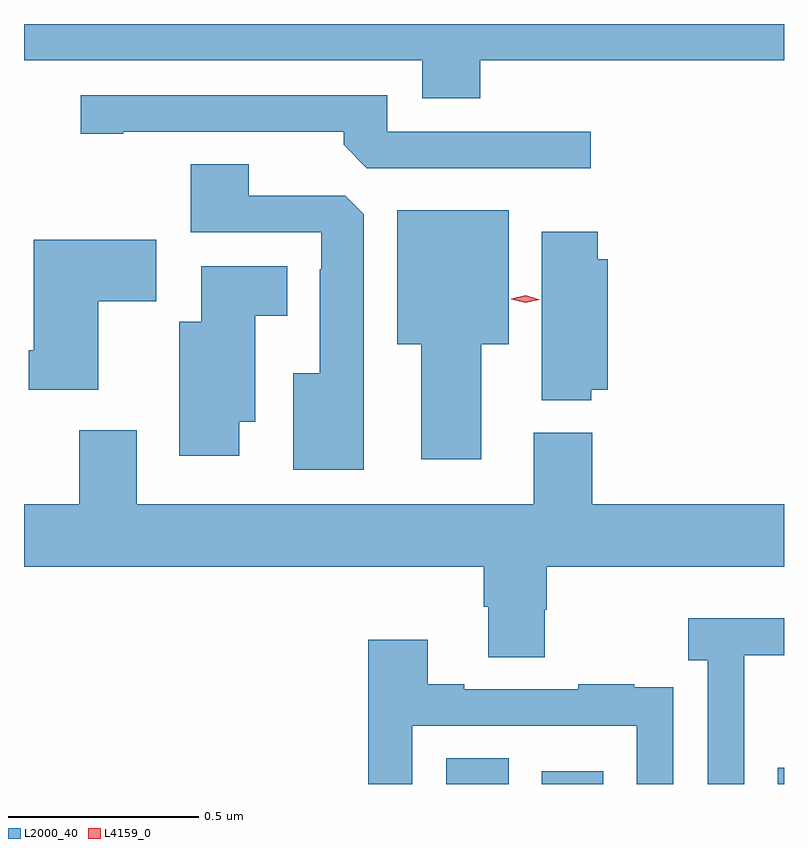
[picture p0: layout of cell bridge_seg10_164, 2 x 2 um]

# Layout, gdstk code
import gdstk
lib = gdstk.Library(unit=1e-6, precision=1e-09)
def R(c, l, rs):  # rectangles x0, y0, x1, y1
    for r in rs: c.add(gdstk.rectangle(r[:2], r[2:], *l))
def P(c, l, *ps):  # polygons
    for p in ps: c.add(gdstk.Polygon(p, *l))
L2000_40 = (2000, 40)
L4159_0 = (4159, 0)

bridge_seg10_164 = lib.new_cell('bridge_seg10_164')
R(bridge_seg10_164, L2000_40, [(245.462,1259.784,245.626,1259.852), (245.714,1259.784,245.875,1259.818), (246.335,1259.784,246.351,1259.827)])
P(bridge_seg10_164, L2000_40, [(245.552,1261.688),(246.351,1261.688),(246.351,1261.784),(244.351,1261.784),(244.351,1261.688),(245.399,1261.688),(245.399,1261.589),(245.552,1261.589)],
  [(245.842,1261.5),(245.307,1261.5),(245.307,1261.596),(244.5,1261.596),(244.5,1261.495),(244.612,1261.495),(244.612,1261.5),(245.192,1261.5),(245.192,1261.466),(245.253,1261.404),(245.842,1261.404)],
  [(245.245,1261.283),(245.196,1261.332),(244.942,1261.332),(244.942,1261.415),(244.79,1261.415),(244.79,1261.236),(245.133,1261.236),(245.133,1261.139),(245.129,1261.139),(245.129,1260.865),(245.06,1260.865),(245.06,1260.611),(245.245,1260.611)],
  [(245.554,1260.941),(245.626,1260.941),(245.626,1261.294),(245.333,1261.294),(245.333,1260.941),(245.396,1260.941),(245.396,1260.639),(245.554,1260.639)],
  [(245.844,1260.821),(245.887,1260.821),(245.887,1261.165),(245.861,1261.165),(245.861,1261.237),(245.714,1261.237),(245.714,1260.794),(245.844,1260.794)],
  [(244.546,1261.054),(244.699,1261.054),(244.699,1261.216),(244.376,1261.216),(244.376,1260.925),(244.364,1260.925),(244.364,1260.821),(244.546,1260.821)],
  [(244.918,1260.737),(244.96,1260.737),(244.96,1261.016),(245.044,1261.016),(245.044,1261.147),(244.817,1261.147),(244.817,1261),(244.76,1261),(244.76,1260.648),(244.918,1260.648)],
  [(245.721,1260.243),(245.726,1260.243),(245.726,1260.356),(246.351,1260.356),(246.351,1260.52),(245.846,1260.52),(245.846,1260.709),(245.693,1260.709),(245.693,1260.52),(244.648,1260.52),(244.648,1260.715),(244.496,1260.715),(244.496,1260.52),(244.351,1260.52),(244.351,1260.356),(245.561,1260.356),(245.561,1260.25),(245.573,1260.25),(245.573,1260.118),(245.721,1260.118)],
  [(246.246,1259.923),(246.247,1259.923),(246.247,1260.123),(246.351,1260.123),(246.351,1260.22),(246.099,1260.22),(246.099,1260.11),(246.15,1260.11),(246.15,1259.784),(246.246,1259.784)],
  [(245.373,1259.937),(245.964,1259.937),(245.964,1259.784),(246.06,1259.784),(246.06,1259.93),(246.059,1259.93),(246.059,1260.039),(245.957,1260.039),(245.957,1260.046),(245.809,1260.046),(245.809,1260.033),(245.509,1260.033),(245.509,1260.046),(245.413,1260.046),(245.413,1260.163),(245.257,1260.163),(245.257,1259.784),(245.373,1259.784)])
P(bridge_seg10_164, L4159_0, [(245.67,1261.05),(245.633,1261.06),(245.633,1261.06),(245.633,1261.061),(245.671,1261.07),(245.708,1261.059),(245.708,1261.059),(245.708,1261.058)])

lib.write_gds('bridge_seg10_164.gds')
